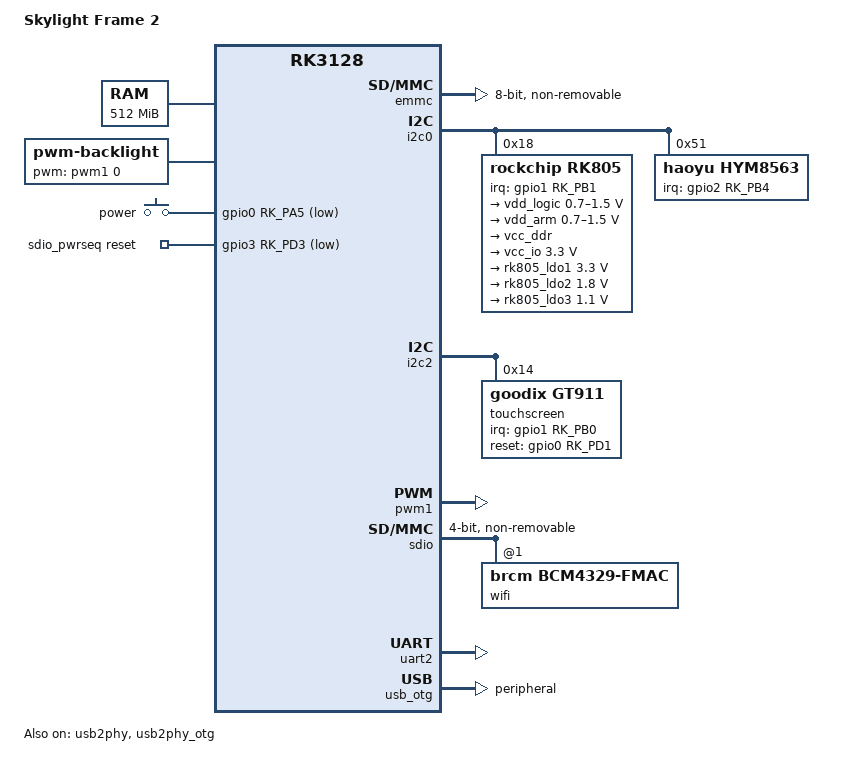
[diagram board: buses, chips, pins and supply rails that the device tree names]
// SPDX-License-Identifier: (GPL-2.0+ OR MIT)
/*
 * Skylight Frame 2 (RK3128, 512 MB, 800x1280 MIPI DSI panel).
 *
 * Bring-up stage 2: no display driver yet. The stock U-Boot lights the panel
 * from its own copy of the vendor device tree and leaves a framebuffer at
 * 0x7dc00000; simple-framebuffer reuses it for the console. This tree is
 * appended to the zImage, so U-Boot's fixups (memory, bootargs) do not apply.
 */

/dts-v1/;

#include <dt-bindings/gpio/gpio.h>
#include <dt-bindings/input/input.h>
#include <dt-bindings/interrupt-controller/irq.h>
#include <dt-bindings/pinctrl/rockchip.h>
#include "rk3128.dtsi"

/ {
	model = "Skylight Frame 2";
	compatible = "skylight,frame2", "rockchip,rk3128";

	aliases {
		mmc0 = &emmc;
	};

	memory@60000000 {
		device_type = "memory";
		reg = <0x60000000 0x20000000>;
	};

	reserved-memory {
		#address-cells = <1>;
		#size-cells = <1>;
		ranges;

		/* U-Boot logo area: uboot_logo=0x02000000@0x7dc00000 */
		uboot_fb: framebuffer@7dc00000 {
			reg = <0x7dc00000 0x02000000>;
			no-map;
		};
	};

	chosen {
		#address-cells = <1>;
		#size-cells = <1>;
		ranges;
		/*
		 * The eMMC has no partition table mainline understands (Rockchip "parameter" block).
		 * blkdevparts exposes only the last partition, "user" (raw sector 4866048, 10076160
		 * sectors, verified against the full-disk backup), as mmcblk0p1: the Debian root.
		 */
		bootargs = "console=ttyS2,115200n8 console=ttyGS0,115200 console=tty0 clk_ignore_unused pd_ignore_unused ignore_loglevel rdinit=/init blkdevparts=mmcblk0:5158993920@2491416576(user)";

		/* RGB565 confirmed on the panel. U-Boot's window is only 240x750; init widens it. */
		framebuffer@7dc00000 {
			compatible = "simple-framebuffer";
			reg = <0x7dc00000 (800 * 1280 * 2)>;
			width = <800>;
			height = <1280>;
			stride = <(800 * 2)>;
			format = "r5g6b5";
		};
	};
};

/ {
	/* Vendor tree: PWM1, 25 us period, levels 0-255, default 128, no enable GPIO. */
	backlight: backlight {
		compatible = "pwm-backlight";
		pwms = <&pwm1 0 25000 0>;
		brightness-levels = <0 255>;
		num-interpolated-steps = <255>;
		default-brightness-level = <128>;
	};

	gpio-keys {
		compatible = "gpio-keys";

		key-power {
			label = "power";
			gpios = <&gpio0 RK_PA5 GPIO_ACTIVE_LOW>;
			linux,code = <KEY_POWER>;
			wakeup-source;
		};
	};

	/*
	 * BCM43455: WL_REG_ON on GPIO3_D3 (high = on). The vendor tree's "reset" pin GPIO0_B6 is
	 * left as U-Boot sets it (output, low): its required level is not known yet.
	 * The vendor tree names no 32 kHz source. ASSUMED: if it is the RTC's CLKOUT, this
	 * reference keeps it running (the hym8563 driver stops CLKOUT when nothing uses it).
	 */
	sdio_pwrseq: sdio-pwrseq {
		compatible = "mmc-pwrseq-simple";
		clocks = <&hym8563>;
		clock-names = "ext_clock";
		reset-gpios = <&gpio3 RK_PD3 GPIO_ACTIVE_LOW>;
	};
};

&cpu0 {
	cpu-supply = <&vdd_arm>;
};

&cpu1 {
	cpu-supply = <&vdd_arm>;
};

&cpu2 {
	cpu-supply = <&vdd_arm>;
};

&cpu3 {
	cpu-supply = <&vdd_arm>;
};

&emmc {
	bus-width = <8>;
	cap-mmc-highspeed;
	non-removable;
	pinctrl-names = "default";
	pinctrl-0 = <&emmc_clk &emmc_cmd &emmc_bus8>;
	status = "okay";
};

/*
 * PMIC and RTC. Every rail is always-on with the vendor tree's limits, so the kernel never
 * switches one off. GPIO3_C1 (PMIC sleep in the vendor tree, also its "gpio_poweroff") is
 * left alone; power-off goes through the PMIC.
 */
&i2c0 {
	status = "okay";

	rk805: pmic@18 {
		compatible = "rockchip,rk805";
		reg = <0x18>;
		interrupt-parent = <&gpio1>;
		interrupts = <RK_PB1 IRQ_TYPE_LEVEL_LOW>;
		system-power-controller;
		gpio-controller;
		#gpio-cells = <2>;

		regulators {
			vdd_logic: DCDC_REG1 {
				regulator-name = "vdd_logic";
				regulator-min-microvolt = <700000>;
				regulator-max-microvolt = <1500000>;
				regulator-always-on;
				regulator-boot-on;
			};

			vdd_arm: DCDC_REG2 {
				regulator-name = "vdd_arm";
				regulator-min-microvolt = <700000>;
				regulator-max-microvolt = <1500000>;
				regulator-always-on;
				regulator-boot-on;
			};

			vcc_ddr: DCDC_REG3 {
				regulator-name = "vcc_ddr";
				regulator-always-on;
				regulator-boot-on;
			};

			vcc_io: DCDC_REG4 {
				regulator-name = "vcc_io";
				regulator-min-microvolt = <3300000>;
				regulator-max-microvolt = <3300000>;
				regulator-always-on;
				regulator-boot-on;
			};

			LDO_REG1 {
				regulator-name = "rk805_ldo1";
				regulator-min-microvolt = <3300000>;
				regulator-max-microvolt = <3300000>;
				regulator-always-on;
				regulator-boot-on;
			};

			LDO_REG2 {
				regulator-name = "rk805_ldo2";
				regulator-min-microvolt = <1800000>;
				regulator-max-microvolt = <1800000>;
				regulator-always-on;
				regulator-boot-on;
			};

			LDO_REG3 {
				regulator-name = "rk805_ldo3";
				regulator-min-microvolt = <1100000>;
				regulator-max-microvolt = <1100000>;
				regulator-always-on;
				regulator-boot-on;
			};
		};
	};

	hym8563: rtc@51 {
		compatible = "haoyu,hym8563";
		reg = <0x51>;
		interrupt-parent = <&gpio2>;
		interrupts = <RK_PB4 IRQ_TYPE_EDGE_FALLING>;
		#clock-cells = <0>;
		clock-output-names = "hym8563";
	};
};

/* Goodix GT9xx, reports 1280x800 (landscape); orientation is handled by the app. */
&i2c2 {
	status = "okay";

	touchscreen@14 {
		compatible = "goodix,gt911";
		reg = <0x14>;
		interrupt-parent = <&gpio1>;
		interrupts = <RK_PB0 IRQ_TYPE_LEVEL_LOW>;
		irq-gpios = <&gpio1 RK_PB0 GPIO_ACTIVE_HIGH>;
		reset-gpios = <&gpio0 RK_PD1 GPIO_ACTIVE_HIGH>;
	};
};

&pwm1 {
	status = "okay";
};

&sdio {
	bus-width = <4>;
	cap-sd-highspeed;
	cap-sdio-irq;
	keep-power-in-suspend;
	max-frequency = <37500000>;
	mmc-pwrseq = <&sdio_pwrseq>;
	non-removable;
	pinctrl-names = "default";
	pinctrl-0 = <&sdio_clk &sdio_cmd &sdio_bus4>;
	#address-cells = <1>;
	#size-cells = <0>;
	status = "okay";

	wifi@1 {
		compatible = "brcm,bcm4329-fmac";
		reg = <1>;
	};
};

&uart2 {
	status = "okay";
};

&usb_otg {
	dr_mode = "peripheral";
	status = "okay";
};

&usb2phy {
	status = "okay";
};

&usb2phy_otg {
	status = "okay";
};
